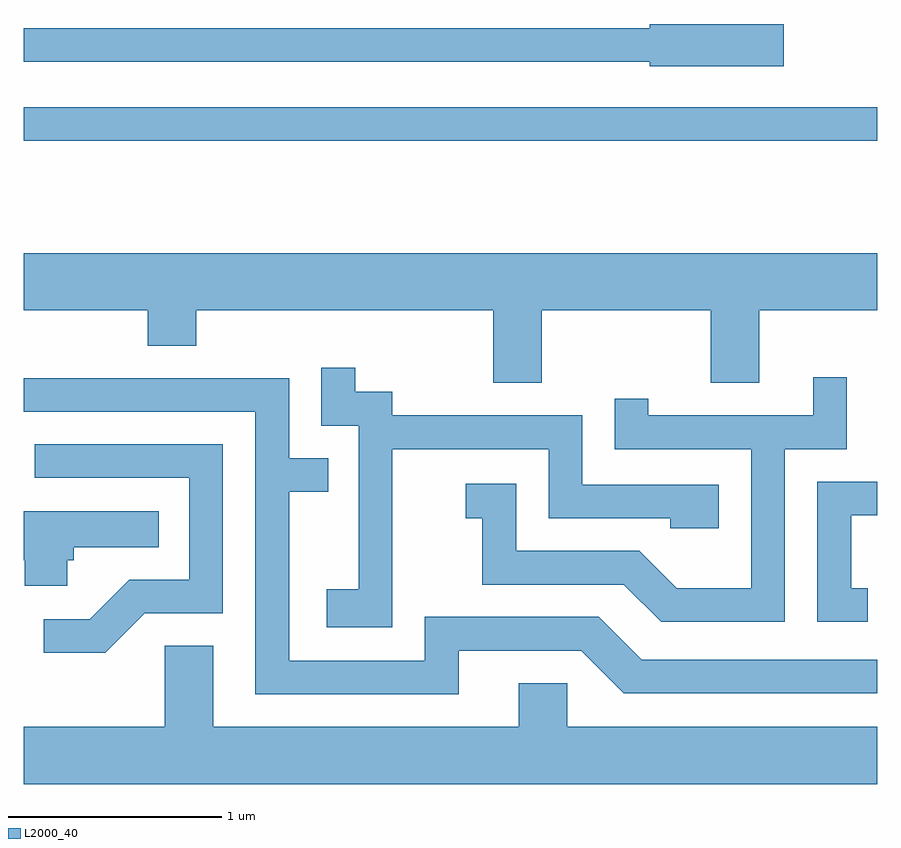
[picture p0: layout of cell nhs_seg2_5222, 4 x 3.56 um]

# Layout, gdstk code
import gdstk
lib = gdstk.Library(unit=1e-6, precision=1e-09)
def R(c, l, rs):  # rectangles x0, y0, x1, y1
    for r in rs: c.add(gdstk.rectangle(r[:2], r[2:], *l))
def P(c, l, *ps):  # polygons
    for p in ps: c.add(gdstk.Polygon(p, *l))
L2000_40 = (2000, 40)

nhs_seg2_5222 = lib.new_cell('nhs_seg2_5222')
R(nhs_seg2_5222, L2000_40, [(339.611,1009.151,343.611,1009.309)])
P(nhs_seg2_5222, L2000_40, [(343.174,1009.699),(342.546,1009.699),(342.546,1009.679),(339.611,1009.679),(339.611,1009.521),(342.546,1009.521),(342.546,1009.501),(343.174,1009.501)],
  [(342.039,1008.356),(342.831,1008.356),(342.831,1008.016),(343.059,1008.016),(343.059,1008.356),(343.611,1008.356),(343.611,1008.624),(339.611,1008.624),(339.611,1008.356),(340.191,1008.356),(340.191,1008.191),(340.419,1008.191),(340.419,1008.356),(341.811,1008.356),(341.811,1008.016),(342.039,1008.016)],
  [(341.339,1007.706),(342.071,1007.706),(342.071,1007.381),(342.641,1007.381),(342.641,1007.336),(342.869,1007.336),(342.869,1007.539),(342.229,1007.539),(342.229,1007.864),(341.339,1007.864),(341.339,1007.974),(341.164,1007.974),(341.164,1008.088),(341.006,1008.088),(341.006,1007.816),(341.181,1007.816),(341.181,1007.049),(341.031,1007.049),(341.031,1006.871),(341.339,1006.871)],
  [(343.179,1007.706),(343.469,1007.706),(343.469,1008.043),(343.311,1008.043),(343.311,1007.864),(342.539,1007.864),(342.539,1007.943),(342.381,1007.943),(342.381,1007.706),(343.021,1007.706),(343.021,1007.054),(342.672,1007.054),(342.497,1007.229),(341.919,1007.229),(341.919,1007.544),(341.683,1007.544),(341.683,1007.381),(341.761,1007.381),(341.761,1007.071),(342.424,1007.071),(342.599,1006.896),(343.179,1006.896)],
  [(341.649,1006.761),(342.224,1006.761),(342.424,1006.561),(343.611,1006.561),(343.611,1006.719),(342.507,1006.719),(342.307,1006.919),(341.491,1006.919),(341.491,1006.714),(340.854,1006.714),(340.854,1007.506),(341.038,1007.506),(341.038,1007.664),(340.854,1007.664),(340.854,1008.039),(339.611,1008.039),(339.611,1007.881),(340.696,1007.881),(340.696,1006.556),(341.649,1006.556)],
  [(340.177,1006.936),(340.544,1006.936),(340.544,1007.729),(339.663,1007.729),(339.663,1007.571),(340.386,1007.571),(340.386,1007.094),(340.104,1007.094),(339.919,1006.909),(339.703,1006.909),(339.703,1006.751),(339.992,1006.751)],
  [(343.568,1007.054),(343.489,1007.054),(343.489,1007.396),(343.611,1007.396),(343.611,1007.554),(343.331,1007.554),(343.331,1006.896),(343.568,1006.896)],
  [(339.814,1007.186),(339.844,1007.186),(339.844,1007.246),(340.243,1007.246),(340.243,1007.414),(339.611,1007.414),(339.611,1007.186),(339.616,1007.186),(339.616,1007.066),(339.814,1007.066)],
  [(343.611,1006.404),(342.159,1006.404),(342.159,1006.609),(341.931,1006.609),(341.931,1006.404),(340.499,1006.404),(340.499,1006.784),(340.271,1006.784),(340.271,1006.404),(339.611,1006.404),(339.611,1006.136),(343.611,1006.136)])

lib.write_gds('nhs_seg2_5222.gds')
